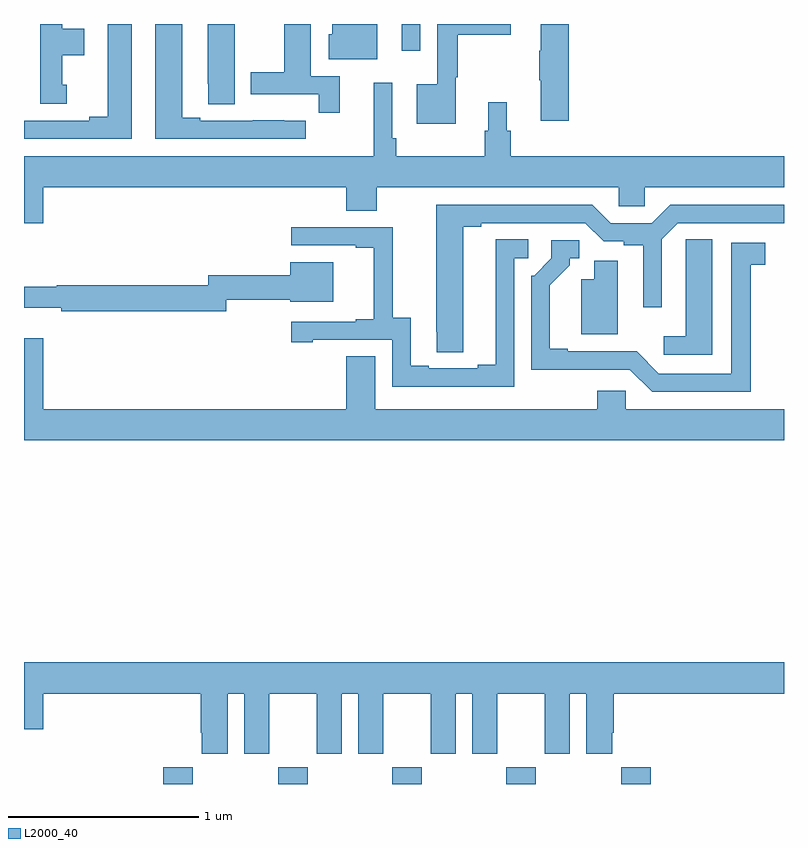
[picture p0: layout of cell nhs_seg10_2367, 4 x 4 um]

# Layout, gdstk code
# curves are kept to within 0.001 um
import gdstk
lib = gdstk.Library(unit=1e-6, precision=1e-09)
def R(c, l, rs):  # rectangles x0, y0, x1, y1
    for r in rs: c.add(gdstk.rectangle(r[:2], r[2:], *l))
def A(c, l, x, y, w, h, nx, ny, dx, dy):  # array of equal rectangles
    R(c, l, [(x+i*dx, y+j*dy, x+i*dx+w, y+j*dy+h) for i in range(nx) for j in range(ny)])
def P(c, l, *ps):  # polygons
    for p in ps: c.add(gdstk.Polygon(p, *l))
L2000_40 = (2000, 40)

nhs_seg10_2367 = lib.new_cell('nhs_seg10_2367')
A(nhs_seg10_2367, L2000_40, 238.339, 1306.5, 0.155, 0.088, 3, 1, 0.6, 0)
R(nhs_seg10_2367, L2000_40, [(237.734,1306.5,237.889,1306.588), (240.143,1306.5,240.299,1306.588), (238.988,1310.358,239.085,1310.5)])
P(nhs_seg10_2367, L2000_40, [(239.867,1310.5),(239.72,1310.5),(239.72,1310.36),(239.713,1310.36),(239.713,1310.204),(239.72,1310.204),(239.72,1309.992),(239.867,1309.992)],
  [(237.568,1310.5),(237.44,1310.5),(237.44,1310.012),(237.344,1310.012),(237.344,1309.992),(237,1309.992),(237,1309.896),(237.568,1309.896)],
  [(239.272,1310.22),(239.284,1310.22),(239.284,1310.444),(239.563,1310.444),(239.563,1310.5),(239.175,1310.5),(239.175,1310.182),(239.066,1310.182),(239.066,1309.976),(239.272,1309.976)],
  [(238.108,1310.5),(237.968,1310.5),(237.968,1310.185),(237.969,1310.185),(237.969,1310.077),(238.108,1310.077)],
  [(238.483,1309.992),(238.37,1309.992),(238.37,1309.993),(238.204,1309.993),(238.204,1309.992),(237.928,1309.992),(237.928,1310.007),(237.832,1310.007),(237.832,1310.5),(237.692,1310.5),(237.692,1309.896),(238.483,1309.896)],
  [(238.661,1310.226),(238.51,1310.226),(238.51,1310.5),(238.37,1310.5),(238.37,1310.247),(238.193,1310.247),(238.193,1310.13),(238.552,1310.13),(238.552,1310.034),(238.661,1310.034)],
  [(237.226,1310.181),(237.202,1310.181),(237.202,1310.336),(237.316,1310.336),(237.316,1310.476),(237.202,1310.476),(237.202,1310.5),(237.086,1310.5),(237.086,1310.079),(237.226,1310.079)],
  [(238.858,1310.5),(238.622,1310.5),(238.622,1310.445),(238.604,1310.445),(238.604,1310.315),(238.858,1310.315)],
  [(237.1,1309.64),(238.697,1309.64),(238.697,1309.516),(238.857,1309.516),(238.857,1309.64),(240.129,1309.64),(240.129,1309.542),(240.267,1309.542),(240.267,1309.64),(241,1309.64),(241,1309.804),(239.561,1309.804),(239.561,1309.938),(239.542,1309.938),(239.542,1310.089),(239.444,1310.089),(239.444,1309.938),(239.425,1309.938),(239.425,1309.804),(238.958,1309.804),(238.958,1309.9),(238.938,1309.9),(238.938,1310.191),(238.841,1310.191),(238.841,1309.804),(237,1309.804),(237,1309.452),(237.1,1309.452)],
  [(239.311,1309.432),(239.407,1309.432),(239.407,1309.452),(239.955,1309.452),(240.051,1309.356),(240.156,1309.356),(240.156,1309.336),(240.26,1309.336),(240.26,1309.008),(240.357,1309.008),(240.357,1309.368),(240.441,1309.452),(241,1309.452),(241,1309.548),(240.401,1309.548),(240.305,1309.452),(240.087,1309.452),(239.991,1309.548),(239.171,1309.548),(239.172,1308.772),(239.311,1308.772)],
  [(239.58,1309.266),(239.653,1309.266),(239.653,1309.367),(239.483,1309.367),(239.483,1308.707),(239.387,1308.707),(239.387,1308.687),(239.131,1308.687),(239.131,1308.702),(239.035,1308.702),(239.035,1308.953),(238.941,1308.953),(238.941,1309.431),(238.407,1309.431),(238.407,1309.335),(238.745,1309.335),(238.745,1309.323),(238.841,1309.323),(238.841,1308.946),(238.745,1308.946),(238.745,1308.933),(238.407,1308.933),(238.407,1308.825),(238.519,1308.825),(238.519,1308.837),(238.938,1308.837),(238.938,1308.591),(239.58,1308.591)],
  [(240.622,1309.367),(240.483,1309.367),(240.483,1309.259),(240.482,1309.259),(240.482,1308.856),(240.366,1308.856),(240.366,1308.759),(240.622,1308.759)],
  [(240.826,1309.234),(240.901,1309.234),(240.901,1309.35),(240.722,1309.35),(240.722,1308.66),(240.342,1308.66),(240.225,1308.777),(239.863,1308.777),(239.863,1308.79),(239.767,1308.79),(239.767,1309.126),(239.872,1309.231),(239.872,1309.266),(239.922,1309.266),(239.922,1309.362),(239.775,1309.362),(239.775,1309.266),(239.685,1309.176),(239.67,1309.176),(239.67,1308.68),(240.189,1308.681),(240.306,1308.564),(240.826,1308.564)],
  [(240.124,1309.254),(240.002,1309.254),(240.002,1309.156),(239.933,1309.156),(239.933,1308.866),(240.124,1308.866)],
  [(238.065,1309.048),(238.4,1309.048),(238.4,1309.037),(238.627,1309.037),(238.627,1309.246),(238.4,1309.246),(238.4,1309.177),(237.969,1309.177),(237.969,1309.124),(237.172,1309.124),(237.172,1309.117),(237,1309.117),(237,1309.007),(237.196,1309.007),(237.196,1308.988),(238.065,1308.988)],
  [(241,1308.472),(240.168,1308.472),(240.168,1308.57),(240.017,1308.57),(240.017,1308.472),(238.849,1308.472),(238.849,1308.752),(238.697,1308.752),(238.697,1308.472),(237.1,1308.472),(237.1,1308.847),(237,1308.847),(237,1308.308),(241,1308.308)],
  [(238.072,1306.976),(238.16,1306.976),(238.16,1306.659),(238.291,1306.659),(238.291,1306.976),(238.541,1306.976),(238.541,1306.659),(238.672,1306.659),(238.672,1306.976),(238.76,1306.976),(238.76,1306.659),(238.891,1306.659),(238.891,1306.976),(239.141,1306.976),(239.141,1306.659),(239.272,1306.659),(239.272,1306.976),(239.36,1306.976),(239.36,1306.659),(239.491,1306.659),(239.491,1306.976),(239.741,1306.976),(239.741,1306.659),(239.872,1306.659),(239.872,1306.976),(239.96,1306.976),(239.96,1306.659),(240.097,1306.659),(240.097,1306.771),(240.104,1306.771),(240.104,1306.976),(241,1306.976),(241,1307.14),(237,1307.14),(237,1306.788),(237.1,1306.788),(237.1,1306.976),(237.929,1306.976),(237.929,1306.771),(237.935,1306.771),(237.935,1306.659),(238.072,1306.659)])

lib.write_gds('nhs_seg10_2367.gds')
